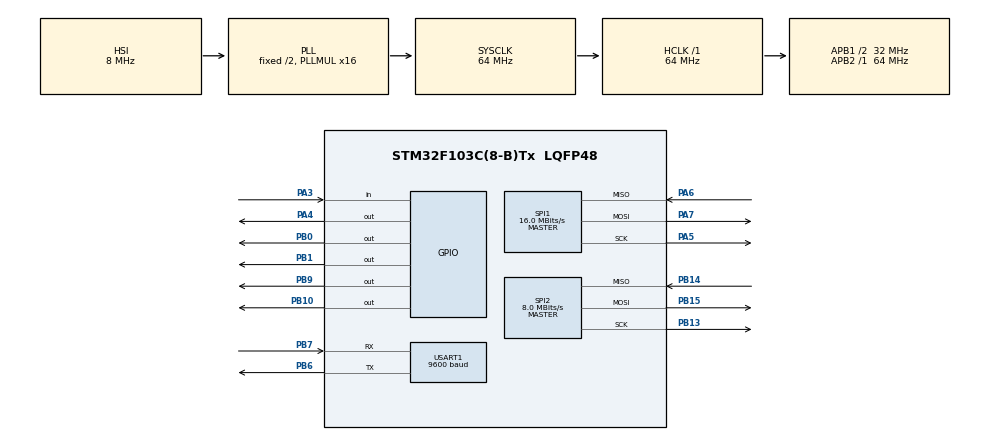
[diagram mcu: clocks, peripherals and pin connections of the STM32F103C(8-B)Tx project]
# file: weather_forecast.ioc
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Dma.Request0=SPI1_TX
Dma.SPI1_TX.0.Direction=DMA_MEMORY_TO_PERIPH
Dma.SPI1_TX.0.Instance=DMA1_Channel3
Dma.SPI1_TX.0.MemDataAlignment=DMA_MDATAALIGN_BYTE
Dma.SPI1_TX.0.MemInc=DMA_MINC_ENABLE
Dma.SPI1_TX.0.Mode=DMA_NORMAL
Dma.SPI1_TX.0.PeriphDataAlignment=DMA_PDATAALIGN_BYTE
Dma.SPI1_TX.0.PeriphInc=DMA_PINC_DISABLE
Dma.SPI1_TX.0.Priority=DMA_PRIORITY_VERY_HIGH
Mcu.Family=STM32F1
Mcu.Name=STM32F103C(8-B)Tx
Mcu.Package=LQFP48
NVIC.DMA1_Channel3_IRQn=true\:0\:0\:false\:false\:true\:false\:true\:true
NVIC.PriorityGroup=NVIC_PRIORITYGROUP_4
NVIC.USART1_IRQn=true\:0\:0\:false\:false\:true\:true\:true\:true
PA13.Mode=Serial_Wire
PA13.Signal=SYS_JTMS-SWDIO
PA14.Mode=Serial_Wire
PA14.Signal=SYS_JTCK-SWCLK
PA3.Signal=GPIO_Input
PA4.PinState=GPIO_PIN_SET
PA4.Signal=GPIO_Output
PA5.Mode=Full_Duplex_Master
PA5.Signal=SPI1_SCK
PA6.Mode=Full_Duplex_Master
PA6.Signal=SPI1_MISO
PA7.Mode=Full_Duplex_Master
PA7.Signal=SPI1_MOSI
PB0.Signal=GPIO_Output
PB1.Signal=GPIO_Output
PB10.Signal=GPIO_Output
PB13.Mode=Full_Duplex_Master
PB13.Signal=SPI2_SCK
PB14.Mode=Full_Duplex_Master
PB14.Signal=SPI2_MISO
PB15.Mode=Full_Duplex_Master
PB15.Signal=SPI2_MOSI
PB6.Mode=Asynchronous
PB6.Signal=USART1_TX
PB7.Mode=Asynchronous
PB7.Signal=USART1_RX
PB9.Signal=GPIO_Output
PD0-OSC_IN.Mode=HSE-External-Oscillator
PD0-OSC_IN.Signal=RCC_OSC_IN
PD1-OSC_OUT.Mode=HSE-External-Oscillator
PD1-OSC_OUT.Signal=RCC_OSC_OUT
ProjectManager.HeapSize=0x200
ProjectManager.StackSize=0x400
ProjectManager.TargetToolchain=STM32CubeIDE
RCC.AHBFreq_Value=64000000
RCC.APB1CLKDivider=RCC_HCLK_DIV2
RCC.APB1Freq_Value=32000000
RCC.APB1TimFreq_Value=64000000
RCC.APB2Freq_Value=64000000
RCC.APB2TimFreq_Value=64000000
RCC.HCLKFreq_Value=64000000
RCC.PLLMUL=RCC_PLL_MUL16
RCC.SYSCLKFreq_VALUE=64000000
RCC.SYSCLKSource=RCC_SYSCLKSOURCE_PLLCLK
RCC.USBFreq_Value=64000000
RTC.Date=18
RTC.Format=RTC_FORMAT_BIN
RTC.Hours=15
RTC.Minutes=28
RTC.Month=RTC_MONTH_NOVEMBER
RTC.Year=24
SPI1.BaudRatePrescaler=SPI_BAUDRATEPRESCALER_4
SPI1.CalculateBaudRate=16.0 MBits/s
SPI1.Direction=SPI_DIRECTION_2LINES
SPI1.Mode=SPI_MODE_MASTER
SPI1.VirtualType=VM_MASTER
SPI2.BaudRatePrescaler=SPI_BAUDRATEPRESCALER_4
SPI2.CalculateBaudRate=8.0 MBits/s
SPI2.Direction=SPI_DIRECTION_2LINES
SPI2.Mode=SPI_MODE_MASTER
SPI2.VirtualType=VM_MASTER
TIM1.Prescaler=71
USART1.BaudRate=9600
USART1.VirtualMode=VM_ASYNC
VP_RTC_No_RTC_Output.Mode=RTC_OUT_NO
VP_RTC_VS_RTC_Activate.Mode=RTC_Enabled
VP_RTC_VS_RTC_Calendar.Mode=RTC_Calendar
VP_TIM1_VS_ClockSourceINT.Mode=Internal
board=custom

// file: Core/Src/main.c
/* USER CODE BEGIN Header */
/**
  ******************************************************************************
  * @file           : main.c
  * @brief          : Main program body
  ******************************************************************************
  * @attention
  *
  * Copyright (c) 2024 STMicroelectronics.
  * All rights reserved.
  *
  * This software is licensed under terms that can be found in the LICENSE file
  * in the root directory of this software component.
  * If no LICENSE file comes with this software, it is provided AS-IS.
  *
  ******************************************************************************
  */
/* USER CODE END Header */
#include "main.h"

/* USER CODE BEGIN Includes */
#include "stdio.h"
#include "ILI9341_STM32_Driver.h"
#include "fonts.h"
#include "Image_Lib.h"
#include "touch.h"
#include <string.h>
#include <time.h>
#include <stdlib.h>
#include <limits.h>
//#include "W25Qxx.h"
//#include <calibrate.h>

/* USER CODE END Includes */

/* USER CODE BEGIN PTD */
#define DHT11_PORT GPIOB
#define DHT11_PIN GPIO_PIN_9

#define MAX_LEN 6
#define MAX_TOKENS 1024

/* USER CODE END PTD */

/* USER CODE BEGIN PD */
struct DataSend{
	float lat;
	float lon;
	int nameProvince;
	int flagSend;
};

struct DataReceive{
	int tempCurrent[7][24];
	int numberDay[7];
	int tempMax[7];
	int tempMin[7];
	int humidi[7][24];
	double Rain[7][24];
	int gioHT;
	int receiveNumber;
	int flagReceive;
};
struct DataReceive data_receive;

struct DataSend HoChiMinh = {10.8231,106.6297,1};
struct DataSend Hue = {16.4637,107.5909,2};
struct DataSend HaNoi = {21.0278,105.8342,3};

/* USER CODE END PD */

RTC_HandleTypeDef hrtc;

SPI_HandleTypeDef hspi1;
SPI_HandleTypeDef hspi2;
DMA_HandleTypeDef hdma_spi1_tx;

TIM_HandleTypeDef htim1;

UART_HandleTypeDef huart1;

void SystemClock_Config(void);
static void MX_GPIO_Init(void);
static void MX_DMA_Init(void);
static void MX_SPI1_Init(void);
static void MX_TIM1_Init(void);
static void MX_USART1_UART_Init(void);
static void MX_SPI2_Init(void);
static void MX_RTC_Init(void);
/* USER CODE BEGIN PFP */
RTC_DateTypeDef date_of_week;
//uint8_t current_day;
char *day_char[] = {"Sun", "Mon", "Tue", "Wed", "Thur", "Fri", "Sat"};

/* USER CODE END PFP */

/* USER CODE BEGIN 0 */
uint8_t RHI, RHD, TCI, TCD, sum;// 8 bit high humidity, low humidity, high temperature, low temprature, checksum(parity)
uint32_t pMilis, cMillis;
float fCelsius = 0;
float fFahrenheit = 0;
float RH = 0;
uint8_t TFI = 0;
uint8_t TFD = 0;
char strCopy[30];
uint8_t rx_data;
char rx_buffer[1024];
char rx_letter[1024];
char rx_Day[1024];
char rx_buff[1024];
int i = 0;
float temperatures[8];     // Lưu nhiệt độ 8 ngày
int valuesIndex = 0;
uint8_t values[MAX_TOKENS];        // Mảng lưu giá trị float từ các token
int state = 0; // 0: màn hình chính, 1: Hue, 2: Ho Chi Minh, 3: Nhiet do va do am
int isTitleDisplayed = 0; // Cờ để kiểm tra nếu Title đã hiển thị
int canReceive = 0;

void microDelay(uint16_t t)
{
	__HAL_TIM_SET_COUNTER(&htim1, 0);
	while(__HAL_TIM_GET_COUNTER(&htim1) < t);
}

uint8_t DHT11_Start()
{
	uint8_t Response = 0;
	GPIO_InitTypeDef GPIO_InitStructPrivate = {0};
	GPIO_InitStructPrivate.Pin = DHT11_PIN;
	GPIO_InitStructPrivate.Mode = GPIO_MODE_OUTPUT_PP;
	GPIO_InitStructPrivate.Speed = GPIO_SPEED_FREQ_LOW;
	GPIO_InitStructPrivate.Pull = GPIO_NOPULL;
	HAL_GPIO_Init(DHT11_PORT, &GPIO_InitStructPrivate);
	HAL_GPIO_WritePin(DHT11_PORT, DHT11_PIN, 0); // yeu cau data tu sensor
	HAL_Delay(20);// cho 20ms
	HAL_GPIO_WritePin(DHT11_PORT, DHT11_PIN, 1); // micro gui tin hieu yeu cau
	microDelay(30); // delay 30us
	GPIO_InitStructPrivate.Mode = GPIO_MODE_INPUT;
	GPIO_InitStructPrivate.Pull = GPIO_PULLUP;
	HAL_GPIO_Init(DHT11_PORT, &GPIO_InitStructPrivate); // set the pin as input
	microDelay(40);
	if(!(HAL_GPIO_ReadPin(DHT11_PORT, DHT11_PIN)))
	{
		microDelay(80);
		if(HAL_GPIO_ReadPin(DHT11_PORT, DHT11_PIN))
			Response = 1;
	}
	pMilis = HAL_GetTick();
	cMillis = HAL_GetTick();
	while((HAL_GPIO_ReadPin(DHT11_PORT, DHT11_PIN)) && pMilis + 2 > cMillis)
	{
		cMillis = HAL_GetTick();
	}
	return Response;
}

uint8_t DHT11_Read()
{
	uint8_t a, b = 0;
	for(a = 0;a < 8 ;a++)
	{
		pMilis = HAL_GetTick();
		cMillis = HAL_GetTick();
		while(!(HAL_GPIO_ReadPin(DHT11_PORT, DHT11_PIN)) && (pMilis + 2 > cMillis))
		{
			//wait pin high
			cMillis = HAL_GetTick();
		}
		microDelay(40);
		if(!HAL_GPIO_ReadPin(DHT11_PORT, DHT11_PIN))
			b &= ~(1 << (7 - a));
		else
			b |= (1 << (7 - a));
		pMilis = HAL_GetTick();
		cMillis = HAL_GetTick();
		while((HAL_GPIO_ReadPin(DHT11_PORT, DHT11_PIN)) && pMilis + 2 > cMillis)
		{
			//wait pin high
			cMillis = HAL_GetTick();
		}
	}
	return b;
}

void HAL_UART_RxCpltCallback(UART_HandleTypeDef *huart) {
	if(data_receive.flagReceive == 1){
		HAL_UART_Receive_IT(&huart1,(uint8_t *)&data_receive, sizeof(data_receive));
	}
}

void Title(){ // display main screen
	ILI9341_FillRectangle(19, 258, 200, 32, ILI9341_COLOR565(254, 197, 230));
	ILI9341_FillRectangle(19, 203, 200, 32, ILI9341_COLOR565(254, 197, 230));
	ILI9341_FillRectangle(19, 148, 200, 32, ILI9341_COLOR565(254, 197, 230));
	ILI9341_FillRectangle(19, 93, 200, 32, ILI9341_COLOR565(254, 197, 230));
	ILI9341_WriteString(112, 10, "Du bao", Font_11x18, ILI9341_COLOR565(102, 255, 255), ILI9341_COLOR565(255, 204, 0));
	ILI9341_WriteString(48, 38, "thoi tiet", Font_16x26, ILI9341_COLOR565(102, 255, 255), ILI9341_COLOR565(255, 204, 0));
	ILI9341_WriteString(60, 100, "Ho Chi Minh", Font_11x18, ILI9341_COLOR565(58, 12, 163), ILI9341_COLOR565(254, 197, 230));
	ILI9341_WriteString(82, 155, "Ha Noi", Font_11x18, ILI9341_COLOR565(58, 12, 163), ILI9341_COLOR565(254, 197, 230));
	ILI9341_WriteString(96, 210, "Hue", Font_11x18, ILI9341_COLOR565(58, 12, 163), ILI9341_COLOR565(254, 197, 230));
	ILI9341_WriteString(25, 265, "Nhiet do va do am", Font_11x18, ILI9341_COLOR565(58, 12, 163), ILI9341_COLOR565(254, 197, 230));
	isTitleDisplayed = 1;
	//}
}

void DisplayWeather(){
	uint16_t x, y;
	if(ILI9341_TouchGetCoordinates(&x, &y) && state == 0)
	{
		if(x >= 188 && x <= 196 && y >= 9 && y <= 318)
		{
			Hue.flagSend = 1;
			HAL_UART_Transmit(&huart1, (uint8_t *)&Hue, sizeof(Hue),1000);
			Hue.flagSend = 0;
			HAL_UART_Transmit(&huart1, (uint8_t *)&Hue, sizeof(HaNoi),1000);
			while(data_receive.receiveNumber != 2 || data_receive.receiveNumber == 1 || data_receive.receiveNumber == 3){
				Hue.flagSend = 1;
				HAL_UART_Transmit(&huart1, (uint8_t *)&Hue, sizeof(Hue),1000);
				Hue.flagSend = 0;
				HAL_UART_Transmit(&huart1, (uint8_t *)&Hue, sizeof(HaNoi),1000);
				ILI9341_FillScreen(ILI9341_COLOR565(0, 204, 204));
				ILI9341_WriteString(40, 147, "Loading...", Font_16x26, ILI9341_COLOR565(102, 51, 255),ILI9341_COLOR565(0, 204, 204));
			}
			ILI9341_FillScreen(BLACK);
			ILI9341_WriteString(103, 1, "Hue", Font_11x18, ILI9341_COLOR565(255, 51, 0), BLACK);
			ILI9341_DrawImage(206, 1, 24, 24, button_back_Image);

			ILI9341_FillRectangle(38, 80, 22, 22, ILI9341_COLOR565(64, 160, 240));
			sprintf(rx_letter, "%s","<");
			ILI9341_WriteString(43, 82, rx_letter, Font_11x18, WHITE, ILI9341_COLOR565(64, 160, 240));
			ILI9341_FillRectangle(187, 80, 22, 22, ILI9341_COLOR565(64, 160, 240));
			sprintf(rx_letter, "%s",">");
			ILI9341_WriteString(194, 82, rx_letter, Font_11x18, WHITE, ILI9341_COLOR565(64, 160, 240));

			int count = data_receive.gioHT + 1;

			int n = data_receive.gioHT;
			int timeCurrent;

			while(state != 1){
				Hue.flagSend = 1;
				HAL_UART_Transmit(&huart1, (uint8_t *)&Hue, sizeof(Hue),1000);
				Hue.flagSend = 0;
				HAL_UART_Transmit(&huart1, (uint8_t *)&Hue, sizeof(HaNoi),1000);
				for(int t = 0;t < 7;t++){
					int currentDay = (data_receive.numberDay[t] + i) % 7;
						if(t == 0){
							sprintf(rx_Day, "%s",day_char[currentDay]);
							ILI9341_WriteString(5, 30, rx_Day, Font_11x18, WHITE, BLACK);

							sprintf(rx_buffer, "%d",data_receive.tempCurrent[t][n]);
							ILI9341_WriteString(60, 30, rx_buffer, Font_11x18, WHITE, BLACK);
							sprintf(rx_letter, "%s","o");
							ILI9341_WriteString(83, 30, rx_letter, Font_7x10, WHITE, BLACK);

							sprintf(rx_buffer, "%d%%",data_receive.humidi[t][n]);
							ILI9341_WriteString(60, 55, rx_buffer, Font_11x18, WHITE, BLACK);
							if(data_receive.Rain[t][n] == 0){
								ILI9341_DrawImage(134, 30, 32, 32, Image_Sun);
							}
							else{
								ILI9341_DrawImage(134, 30, 32, 32, Image_Rain);
							}

							// next current hour
							if(count > 12)
							{
								ILI9341_FillRectangle(80, 82, 44, 18,BLACK);
								timeCurrent = count - 12;
								sprintf(rx_buffer, "%dPM", timeCurrent);
								ILI9341_WriteString(80, 82, rx_buffer, Font_11x18, ILI9341_COLOR565(248, 248, 255), BLACK);
							}
							else{
								sprintf(rx_buffer, "%dAM", count);
								ILI9341_WriteString(80, 82, rx_buffer, Font_11x18, ILI9341_COLOR565(248, 248, 255), BLACK);
							}
							sprintf(rx_buffer, "%d", data_receive.tempCurrent[t][count]);
							ILI9341_WriteString(135, 82, rx_buffer, Font_7x10, WHITE, BLACK);
							sprintf(rx_letter, "%s", "o");
							ILI9341_WriteString(150, 79, rx_letter, Font_7x10, WHITE, BLACK);

							sprintf(rx_buffer, "%d%%", data_receive.humidi[t][count]);
							ILI9341_WriteString(135, 93, rx_buffer, Font_7x10, WHITE, BLACK);
						}
						else{
							sprintf(rx_Day, "%s",day_char[currentDay]);
							ILI9341_WriteString(20,30*t + 97 , rx_Day, Font_7x10, WHITE, BLACK);

							sprintf(rx_buffer, "%d",data_receive.tempMax[t]);
							ILI9341_WriteString(75, 30*t + 97, rx_buffer, Font_7x10, WHITE, BLACK);
							sprintf(rx_letter, "%s","o");
							ILI9341_WriteString(90, 30*t + 93, rx_letter, Font_7x10, WHITE, BLACK);

							sprintf(rx_buffer, "%d",data_receive.tempMin[t]);
							ILI9341_WriteString(105, 30*t + 97, rx_buffer, Font_7x10, WHITE, BLACK);
							sprintf(rx_letter, "%s","o");
							ILI9341_WriteString(120, 30*t + 93, rx_letter, Font_7x10, WHITE, BLACK);

							sprintf(rx_buffer, "%d%%",data_receive.humidi[t][n]);
							ILI9341_WriteString(179, 30*t + 97, rx_buffer, Font_7x10, WHITE, BLACK);
							if(data_receive.Rain[t][n] == 0){
								ILI9341_DrawImage(55, 30*t + 92, 16, 16, Image_Sun_16);
							}
							else{
								ILI9341_DrawImage(55, 30*t + 92, 16, 16, Image_rain_16);
							}
							ILI9341_DrawImage(155, 30*t + 92, 16, 16, Image_humidity_16);
						}
					}
				HAL_Delay(2000);

				if (ILI9341_TouchGetCoordinates(&x, &y)) {
					if(x >= 4 && x <= 20 && y >= 284 && y <= 320){
						state = 1;
						 /*// Đợi cho đến khi UART truyền xong
						while (HAL_UART_GetState(&huart1) != HAL_UART_STATE_READY) {
						     // Chờ UART truyền xong
						__HAL_UART_FLUSH_DRREGISTER(&huart1); // Xóa thanh ghi dữ liệu UART
						Hue.flagSend = 0;
						HAL_UART_Transmit(&huart1, (uint8_t *)&Hue, sizeof(HaNoi),1000);*/
						return;
						}
					//next
					else if (x >= 64 && x <= 83 && y >= 269 && y <= 318) {
						if (count + 1 <= 24) {
							count++;
						}
					}
					// back
					else if (x >= 64 && x <= 80 && y >= 49 && y <= 68) {
						if (count - 1 > n) {
							count--;
						}
					}
				}
			}
		}

		else if((x >= 77 && x <= 99) && (y >= 9 && y <= 318))
		{
			HoChiMinh.flagSend = 1;
			HAL_UART_Transmit(&huart1, (uint8_t *)&HoChiMinh, sizeof(HoChiMinh),1000);
			HoChiMinh.flagSend = 0;
			HAL_UART_Transmit(&huart1, (uint8_t *)&HoChiMinh, sizeof(HoChiMinh),1000);
			while(data_receive.receiveNumber != 1 || data_receive.receiveNumber == 2 || data_receive.receiveNumber == 3){
				HoChiMinh.flagSend = 1;
				HAL_UART_Transmit(&huart1, (uint8_t *)&HoChiMinh, sizeof(HoChiMinh),1000);
				HoChiMinh.flagSend = 0;
				HAL_UART_Transmit(&huart1, (uint8_t *)&HoChiMinh, sizeof(HoChiMinh),1000);
				ILI9341_FillScreen(ILI9341_COLOR565(0, 204, 204));
				ILI9341_WriteString(40, 147, "Loading...", Font_16x26, ILI9341_COLOR565(102, 51, 255),ILI9341_COLOR565(0, 204, 204) );
			}
				ILI9341_FillScreen(BLACK);
				ILI9341_WriteString(50, 1, "Ho Chi Minh", Font_11x18, ILI9341_COLOR565(255, 51, 0), BLACK);
				ILI9341_DrawImage(206, 1, 24, 24, button_back_Image);

				ILI9341_FillRectangle(38, 80, 22, 22, ILI9341_COLOR565(64, 160, 240));
				sprintf(rx_letter, "%s","<");
				ILI9341_WriteString(43, 82, rx_letter, Font_11x18, WHITE, ILI9341_COLOR565(64, 160, 240));
				ILI9341_FillRectangle(187, 80, 22, 22, ILI9341_COLOR565(64, 160, 240));
				sprintf(rx_letter, "%s",">");
				ILI9341_WriteString(194, 82, rx_letter, Font_11x18, WHITE, ILI9341_COLOR565(64, 160, 240));

				int count = data_receive.gioHT + 1;
				int timeCurrent;
				int n = data_receive.gioHT;

			while(state != 2){
				HoChiMinh.flagSend = 1;
				HAL_UART_Transmit(&huart1, (uint8_t *)&HoChiMinh, sizeof(HoChiMinh),1000);
				HoChiMinh.flagSend = 0;
				HAL_UART_Transmit(&huart1, (uint8_t *)&HoChiMinh, sizeof(HoChiMinh),1000);

				for(int t = 0;t < 7;t++){
					int currentDay = (data_receive.numberDay[t] + i) % 7;
					if(t == 0){
						sprintf(rx_Day, "%s",day_char[currentDay]);
						ILI9341_WriteString(5, 30, rx_Day, Font_11x18, WHITE, BLACK);

						sprintf(rx_buffer, "%d",data_receive.tempCurrent[t][n]);
						ILI9341_WriteString(60, 30, rx_buffer, Font_11x18, WHITE, BLACK);
						sprintf(rx_letter, "%s","o");
						ILI9341_WriteString(83, 30, rx_letter, Font_7x10, WHITE, BLACK);

						sprintf(rx_buffer, "%d%%",data_receive.humidi[t][n]);
						ILI9341_WriteString(60, 50, rx_buffer, Font_11x18, WHITE, BLACK);
						if(data_receive.Rain[t][n] == 0){
							ILI9341_DrawImage(134, 30, 32, 32, Image_Sun);
						}
						else{
							ILI9341_DrawImage(134, 30, 32, 32, Image_Rain);
						}

						// next current hour
						if(count > 12)
						{
							ILI9341_FillRectangle(80, 82, 44, 18,BLACK);
							timeCurrent = count - 12;
							sprintf(rx_buffer, "%dPM", timeCurrent);
							ILI9341_WriteString(80, 82, rx_buffer, Font_11x18, ILI9341_COLOR565(248, 248, 255), BLACK);
						}
						else{
							sprintf(rx_buffer, "%dAM", count);
							ILI9341_WriteString(80, 82, rx_buffer, Font_11x18, ILI9341_COLOR565(248, 248, 255), BLACK);
						}
						sprintf(rx_buffer, "%d", data_receive.tempCurrent[t][count]);
						ILI9341_WriteString(135, 82, rx_buffer, Font_7x10, WHITE, BLACK);
						sprintf(rx_letter, "%s", "o");
						ILI9341_WriteString(150, 79, rx_letter, Font_7x10, WHITE, BLACK);

						sprintf(rx_buffer, "%d%%", data_receive.humidi[t][count]);
						ILI9341_WriteString(135, 93, rx_buffer, Font_7x10, WHITE, BLACK);

					}

					else{
						sprintf(rx_Day, "%s",day_char[currentDay]);
						ILI9341_WriteString(20,30*t + 97 , rx_Day, Font_7x10, WHITE, BLACK);

						sprintf(rx_buffer, "%d",data_receive.tempMax[t]);
						ILI9341_WriteString(75, 30*t + 97, rx_buffer, Font_7x10, WHITE, BLACK);
						sprintf(rx_letter, "%s","o");
						ILI9341_WriteString(90, 30*t + 93, rx_letter, Font_7x10, WHITE, BLACK);

						sprintf(rx_buffer, "%d",data_receive.tempMin[t]);
						ILI9341_WriteString(105, 30*t + 97, rx_buffer, Font_7x10, WHITE, BLACK);
						sprintf(rx_letter, "%s","o");
						ILI9341_WriteString(120, 30*t + 93, rx_letter, Font_7x10, WHITE, BLACK);

						sprintf(rx_buffer, "%d%%",data_receive.humidi[t][n]);
						ILI9341_WriteString(179, 30*t + 97, rx_buffer, Font_7x10, WHITE, BLACK);
						if(data_receive.Rain[t][n] == 0){
							ILI9341_DrawImage(55, 30*t + 92, 16, 16, Image_Sun_16);
						}
						else{
							ILI9341_DrawImage(55, 30*t + 92, 16, 16, Image_rain_16);
						}
						ILI9341_DrawImage(155, 30*t + 92, 16, 16, Image_humidity_16);
					}
				}
				HAL_Delay(2000);
				if (ILI9341_TouchGetCoordinates(&x, &y)) {
					if(x >= 4 && x <= 20 && y >= 284 && y <= 320){
						state = 2;
						 /*// Đợi cho đến khi UART truyền xong
						while (HAL_UART_GetState(&huart1) != HAL_UART_STATE_READY) {
							// Chờ UART truyền xong
						__HAL_UART_FLUSH_DRREGISTER(&huart1); // Xóa thanh ghi dữ liệu UART
						HoChiMinh.flagSend = 0;
						HAL_UART_Transmit(&huart1, (uint8_t *)&HoChiMinh, sizeof(HoChiMinh),1000);*/
						return;
						 }
					//next
					else if (x >= 64 && x <= 83 && y >= 269 && y <= 318) {
						if (count + 1 <= 24) {
							count++;
						}
					}
					// back
					else if (x >= 64 && x <= 80 && y >= 49 && y <= 68) {
						if (count - 1 > n) {
							count --;
						}
					}
				}
			}
		}

		else if((x >= 116 && x <= 185) && (y >= 9 && y <= 318))
		{
			HaNoi.flagSend = 1;
			HAL_UART_Transmit(&huart1, (uint8_t *)&HaNoi, sizeof(HaNoi),1000);
			HaNoi.flagSend = 0;
			HAL_UART_Transmit(&huart1, (uint8_t *)&HaNoi, sizeof(HaNoi),1000);
			while(data_receive.receiveNumber != 3 || data_receive.receiveNumber == 2 || data_receive.receiveNumber == 1){
				HaNoi.flagSend = 1;
				HAL_UART_Transmit(&huart1, (uint8_t *)&HaNoi, sizeof(HaNoi),1000);
				HaNoi.flagSend = 0;
				HAL_UART_Transmit(&huart1, (uint8_t *)&HaNoi, sizeof(HaNoi),1000);
				ILI9341_FillScreen(ILI9341_COLOR565(0, 204, 204));
				ILI9341_WriteString(40, 147, "Loading...", Font_16x26, ILI9341_COLOR565(102, 51, 255),ILI9341_COLOR565(0, 204, 204) );
			}
			ILI9341_FillScreen(BLACK);
			ILI9341_WriteString(87, 1, "Ha Noi", Font_11x18, ILI9341_COLOR565(255, 51, 0), BLACK);
			ILI9341_DrawImage(206, 1, 24, 24, button_back_Image);

			ILI9341_FillRectangle(38, 80, 22, 22, ILI9341_COLOR565(64, 160, 240));
			sprintf(rx_letter, "%s","<");
			ILI9341_WriteString(43, 82, rx_letter, Font_11x18, WHITE, ILI9341_COLOR565(64, 160, 240));
			ILI9341_FillRectangle(187, 80, 22, 22, ILI9341_COLOR565(64, 160, 240));
			sprintf(rx_letter, "%s",">");
			ILI9341_WriteString(194, 82, rx_letter, Font_11x18, WHITE, ILI9341_COLOR565(64, 160, 240));

			int count = data_receive.gioHT + 1;
			int timeCurrent;
			int n = data_receive.gioHT;

			while(state != 3){
				HaNoi.flagSend = 1;
				HAL_UART_Transmit(&huart1, (uint8_t *)&HaNoi, sizeof(HaNoi),1000);
				HaNoi.flagSend = 0;
				HAL_UART_Transmit(&huart1, (uint8_t *)&HaNoi, sizeof(HaNoi),1000);
				for(int t = 0;t < 7;t++){
					int currentDay = (data_receive.numberDay[t] + i) % 7;
					int n = data_receive.gioHT;
					if(t == 0){
						sprintf(rx_Day, "%s",day_char[currentDay]);
						ILI9341_WriteString(5, 30, rx_Day, Font_11x18, WHITE, BLACK);
						sprintf(rx_buffer, "%d",data_receive.tempCurrent[t][n]);
						ILI9341_WriteString(60, 30, rx_buffer, Font_11x18, WHITE, BLACK);
						sprintf(rx_letter, "%s","o");
						ILI9341_WriteString(83, 30, rx_letter, Font_7x10, WHITE, BLACK);

						sprintf(rx_buffer, "%d%%",data_receive.humidi[t][n]);
						ILI9341_WriteString(60, 50, rx_buffer, Font_11x18, WHITE, BLACK);
						if(data_receive.Rain[t][n] == 0){
							ILI9341_DrawImage(134, 30, 32, 32, Image_Sun);
							}
						else{
							ILI9341_DrawImage(134, 30, 32, 32, Image_Rain);
						}

						// next current hour
						if(count > 12)
						{
							ILI9341_FillRectangle(80, 82, 44, 18,BLACK);
							timeCurrent = count - 12;
							sprintf(rx_buffer, "%dPM", timeCurrent);
							ILI9341_WriteString(80, 82, rx_buffer, Font_11x18, ILI9341_COLOR565(248, 248, 255), BLACK);
						}
						else{
							sprintf(rx_buffer, "%dAM", count);
							ILI9341_WriteString(80, 82, rx_buffer, Font_11x18, ILI9341_COLOR565(248, 248, 255), BLACK);
						}
						sprintf(rx_buffer, "%d", data_receive.tempCurrent[t][count]);
						ILI9341_WriteString(135, 82, rx_buffer, Font_7x10, WHITE, BLACK);
						sprintf(rx_letter, "%s", "o");
						ILI9341_WriteString(150, 79, rx_letter, Font_7x10, WHITE, BLACK);

						sprintf(rx_buffer, "%d%%", data_receive.humidi[t][count]);
						ILI9341_WriteString(135, 93, rx_buffer, Font_7x10, WHITE, BLACK);

					}
					else{
						sprintf(rx_Day, "%s",day_char[currentDay]);
						ILI9341_WriteString(20,30*t + 97 , rx_Day, Font_7x10, WHITE, BLACK);
						sprintf(rx_buffer, "%d",data_receive.tempMax[t]);
						ILI9341_WriteString(75, 30*t + 97, rx_buffer, Font_7x10, WHITE, BLACK);
						sprintf(rx_letter, "%s","o");
						ILI9341_WriteString(90, 30*t + 93, rx_letter, Font_7x10, WHITE, BLACK);

						sprintf(rx_buffer, "%d",data_receive.tempMin[t]);
						ILI9341_WriteString(105, 30*t + 97, rx_buffer, Font_7x10, WHITE, BLACK);
						sprintf(rx_letter, "%s","o");
						ILI9341_WriteString(120, 30*t + 93, rx_letter, Font_7x10, WHITE, BLACK);

						sprintf(rx_buffer, "%d%%",data_receive.humidi[t][n]);
						ILI9341_WriteString(179, 30*t + 97, rx_buffer, Font_7x10, WHITE, BLACK);
						if(data_receive.Rain[t][n] == 0){
							ILI9341_DrawImage(55, 30*t + 92, 16, 16, Image_Sun_16);
						}
						else{
							ILI9341_DrawImage(55, 30*t + 92, 16, 16, Image_rain_16);
						}
						ILI9341_DrawImage(155, 30*t + 92, 16, 16, Image_humidity_16);
						}
					}
					HAL_Delay(2000);
					if (ILI9341_TouchGetCoordinates(&x, &y)) {
						if(x >= 4 && x <= 20 && y >= 284 && y <= 320){
							state = 3;
							 // Đợi cho đến khi UART truyền xong
							/*while (HAL_UART_GetState(&huart1) != HAL_UART_STATE_READY) {
							    // Chờ UART truyền xong

							//HAL_UART_Abort(&huart1);
							__HAL_UART_FLUSH_DRREGISTER(&huart1); // Xóa thanh ghi dữ liệu UART
							HaNoi.flagSend = 0;
							//RCC->APB2RSTR |= RCC_APB2RSTR_USART1RST; // Reset UART
							//MX_USART1_UART_Init();
							//RCC->APB2RSTR &= ~RCC_APB2RSTR_USART1RST;
							HAL_UART_Transmit(&huart1, (uint8_t *)&HaNoi, sizeof(HaNoi),1000);
							*/
							return;
						}
						//next
						else if (x >= 64 && x <= 83 && y >= 269 && y <= 318) {
							if (count + 1 <= 24) {
								count++;
							}
						}
						// back
						else if (x >= 64 && x <= 80 && y >= 49 && y <= 68) {
							if (count - 1 > n) {
								count --;
							}
						}
					}
				}
			}

		else if(x >= 202 && x <= 231 && y >= 9 && y <= 318){
			ILI9341_FillScreen(BLACK);
			ILI9341_DrawImage(206, 1, 24, 24, button_back_Image);
			ILI9341_WriteString(32, 93, "Temperature", Font_16x26, WHITE, BLACK);
			ILI9341_DrawImage(46, 129, 32, 32, Image_Temp);
			ILI9341_WriteString(56, 175, "Humidity", Font_16x26, WHITE, BLACK);
			ILI9341_DrawImage(46, 211, 32, 32, Image_Humidity);
			while(state != 4){
				if(DHT11_Start()){
					RHI = DHT11_Read();
					RHD = DHT11_Read();
					TCI = DHT11_Read();
					TCD = DHT11_Read();
					sum = DHT11_Read();
					// Kiểm tra tổng(checksum)
					if( RHI + RHD + TCI + TCD == sum)
					{
						// Tính toán nhiệt độ và độ ẩm
						fCelsius = (float)TCI + (float)(TCD/10.0);
						fFahrenheit = fCelsius * 9/5 + 32;
						RH = (float)RHI + (float)(RHD/10.0);
						// Can use tCelsius, tFahrenheit and RH for any purposes
						TFI = fFahrenheit;  // Fahrenheit integral
						TFD = fFahrenheit * 10 - TFI * 10; // Fahrenheit decimal
						// hiển thị nhiệt độ
						sprintf(strCopy, "%d.%d", TCI, TCD);
						ILI9341_WriteString(88, 131, strCopy, Font_16x26, WHITE, BLACK);
						sprintf(rx_letter, "%s","o");
						ILI9341_WriteString(169, 128, rx_letter, Font_11x18, WHITE, BLACK);
						// hiển thị độ ẩm
						sprintf(strCopy, "%d.%d %%", RHI, RHD);
						ILI9341_WriteString(88, 220, strCopy, Font_16x26, WHITE, BLACK);
					}
				}
				if (ILI9341_TouchGetCoordinates(&x, &y)) {
					if(x >= 4 && x <= 20 && y >= 284 && y <= 320){
						state = 4;
						return;
					}
				}
			}
		}
	}
}

void ReturnBack(){
	uint16_t x, y;
	if(ILI9341_TouchGetCoordinates(&x, &y)){
		if((x >= 4 && x <= 20 && y >= 284 && y <= 320) && (state == 1 || state == 2 || state == 3 || state == 4)){
			ILI9341_FillScreen(ILI9341_COLOR565(255, 204, 0));
			state = 0;
			isTitleDisplayed = 0;

		}
	}
}

/* USER CODE END 0 */

int main(void)
{

  /* USER CODE BEGIN 1 */
	//uint8_t index;
  /* USER CODE END 1 */

  /* MCU Configuration--------------------------------------------------------*/

  /* Reset of all peripherals, Initializes the Flash interface and the Systick. */
	HAL_Init();

  /* Configure the system clock */
  SystemClock_Config();

  /* Initialize all configured peripherals */
  MX_GPIO_Init();
  MX_DMA_Init();
  MX_SPI1_Init();
  MX_TIM1_Init();
  MX_USART1_UART_Init();
  MX_SPI2_Init();
  MX_RTC_Init();
  /* USER CODE BEGIN 2 */
  HAL_TIM_Base_Start(&htim1);
  ILI9341_Init();
  ILI9341_FillScreen(ILI9341_COLOR565(255, 204, 0));
  HAL_UART_Receive_IT(&huart1,(uint8_t *)&data_receive, sizeof(data_receive));

  /* USER CODE END 2 */

  /* Infinite loop */
  /* USER CODE BEGIN WHILE */
  while (1)
  {
	  if(state == 0 && isTitleDisplayed == 0){
	  Title();
	  }
	  DisplayWeather();
	  ReturnBack();
	  HAL_Delay(500);
    /* USER CODE END WHILE */

  }
}

void SystemClock_Config(void)
{
  RCC_OscInitTypeDef RCC_OscInitStruct = {0};
  RCC_ClkInitTypeDef RCC_ClkInitStruct = {0};
  RCC_PeriphCLKInitTypeDef PeriphClkInit = {0};

  /** Initializes the RCC Oscillators according to the specified parameters
  * in the RCC_OscInitTypeDef structure.
  */
  RCC_OscInitStruct.OscillatorType = RCC_OSCILLATORTYPE_HSI|RCC_OSCILLATORTYPE_LSI;
  RCC_OscInitStruct.HSIState = RCC_HSI_ON;
  RCC_OscInitStruct.HSICalibrationValue = RCC_HSICALIBRATION_DEFAULT;
  RCC_OscInitStruct.LSIState = RCC_LSI_ON;
  RCC_OscInitStruct.PLL.PLLState = RCC_PLL_ON;
  RCC_OscInitStruct.PLL.PLLSource = RCC_PLLSOURCE_HSI_DIV2;
  RCC_OscInitStruct.PLL.PLLMUL = RCC_PLL_MUL16;
  if (HAL_RCC_OscConfig(&RCC_OscInitStruct) != HAL_OK)
  {
    Error_Handler();
  }

  /** Initializes the CPU, AHB and APB buses clocks
  */
  RCC_ClkInitStruct.ClockType = RCC_CLOCKTYPE_HCLK|RCC_CLOCKTYPE_SYSCLK
                              |RCC_CLOCKTYPE_PCLK1|RCC_CLOCKTYPE_PCLK2;
  RCC_ClkInitStruct.SYSCLKSource = RCC_SYSCLKSOURCE_PLLCLK;
  RCC_ClkInitStruct.AHBCLKDivider = RCC_SYSCLK_DIV1;
  RCC_ClkInitStruct.APB1CLKDivider = RCC_HCLK_DIV2;
  RCC_ClkInitStruct.APB2CLKDivider = RCC_HCLK_DIV1;

  if (HAL_RCC_ClockConfig(&RCC_ClkInitStruct, FLASH_LATENCY_2) != HAL_OK)
  {
    Error_Handler();
  }
  PeriphClkInit.PeriphClockSelection = RCC_PERIPHCLK_RTC;
  PeriphClkInit.RTCClockSelection = RCC_RTCCLKSOURCE_LSI;
  if (HAL_RCCEx_PeriphCLKConfig(&PeriphClkInit) != HAL_OK)
  {
    Error_Handler();
  }
}

static void MX_RTC_Init(void)
{

  RTC_TimeTypeDef sTime = {0};
  RTC_DateTypeDef DateToUpdate = {0};

  /** Initialize RTC Only
  */
  hrtc.Instance = RTC;
  hrtc.Init.AsynchPrediv = RTC_AUTO_1_SECOND;
  hrtc.Init.OutPut = RTC_OUTPUTSOURCE_NONE;
  if (HAL_RTC_Init(&hrtc) != HAL_OK)
  {
    Error_Handler();
  }

  /** Initialize RTC and set the Time and Date
  */
  sTime.Hours = 15;
  sTime.Minutes = 28;
  sTime.Seconds = 0;

  if (HAL_RTC_SetTime(&hrtc, &sTime, RTC_FORMAT_BIN) != HAL_OK)
  {
    Error_Handler();
  }
  DateToUpdate.WeekDay = RTC_WEEKDAY_MONDAY;
  DateToUpdate.Month = RTC_MONTH_NOVEMBER;
  DateToUpdate.Date = 18;
  DateToUpdate.Year = 24;

  if (HAL_RTC_SetDate(&hrtc, &DateToUpdate, RTC_FORMAT_BIN) != HAL_OK)
  {
    Error_Handler();
  }

}

static void MX_SPI1_Init(void)
{

  /* SPI1 parameter configuration*/
  hspi1.Instance = SPI1;
  hspi1.Init.Mode = SPI_MODE_MASTER;
  hspi1.Init.Direction = SPI_DIRECTION_2LINES;
  hspi1.Init.DataSize = SPI_DATASIZE_8BIT;
  hspi1.Init.CLKPolarity = SPI_POLARITY_LOW;
  hspi1.Init.CLKPhase = SPI_PHASE_1EDGE;
  hspi1.Init.NSS = SPI_NSS_SOFT;
  hspi1.Init.BaudRatePrescaler = SPI_BAUDRATEPRESCALER_4;
  hspi1.Init.FirstBit = SPI_FIRSTBIT_MSB;
  hspi1.Init.TIMode = SPI_TIMODE_DISABLE;
  hspi1.Init.CRCCalculation = SPI_CRCCALCULATION_DISABLE;
  hspi1.Init.CRCPolynomial = 10;
  if (HAL_SPI_Init(&hspi1) != HAL_OK)
  {
    Error_Handler();
  }

}

static void MX_SPI2_Init(void)
{

  /* SPI2 parameter configuration*/
  hspi2.Instance = SPI2;
  hspi2.Init.Mode = SPI_MODE_MASTER;
  hspi2.Init.Direction = SPI_DIRECTION_2LINES;
  hspi2.Init.DataSize = SPI_DATASIZE_8BIT;
  hspi2.Init.CLKPolarity = SPI_POLARITY_LOW;
  hspi2.Init.CLKPhase = SPI_PHASE_1EDGE;
  hspi2.Init.NSS = SPI_NSS_SOFT;
  hspi2.Init.BaudRatePrescaler = SPI_BAUDRATEPRESCALER_4;
  hspi2.Init.FirstBit = SPI_FIRSTBIT_MSB;
  hspi2.Init.TIMode = SPI_TIMODE_DISABLE;
  hspi2.Init.CRCCalculation = SPI_CRCCALCULATION_DISABLE;
  hspi2.Init.CRCPolynomial = 10;
  if (HAL_SPI_Init(&hspi2) != HAL_OK)
  {
    Error_Handler();
  }

}

static void MX_TIM1_Init(void)
{

  TIM_ClockConfigTypeDef sClockSourceConfig = {0};
  TIM_MasterConfigTypeDef sMasterConfig = {0};

  htim1.Instance = TIM1;
  htim1.Init.Prescaler = 71;
  htim1.Init.CounterMode = TIM_COUNTERMODE_UP;
  htim1.Init.Period = 65535;
  htim1.Init.ClockDivision = TIM_CLOCKDIVISION_DIV1;
  htim1.Init.RepetitionCounter = 0;
  htim1.Init.AutoReloadPreload = TIM_AUTORELOAD_PRELOAD_DISABLE;
  if (HAL_TIM_Base_Init(&htim1) != HAL_OK)
  {
    Error_Handler();
  }
  sClockSourceConfig.ClockSource = TIM_CLOCKSOURCE_INTERNAL;
  if (HAL_TIM_ConfigClockSource(&htim1, &sClockSourceConfig) != HAL_OK)
  {
    Error_Handler();
  }
  sMasterConfig.MasterOutputTrigger = TIM_TRGO_RESET;
  sMasterConfig.MasterSlaveMode = TIM_MASTERSLAVEMODE_DISABLE;
  if (HAL_TIMEx_MasterConfigSynchronization(&htim1, &sMasterConfig) != HAL_OK)
  {
    Error_Handler();
  }

}

static void MX_USART1_UART_Init(void)
{

  huart1.Instance = USART1;
  huart1.Init.BaudRate = 9600;
  huart1.Init.WordLength = UART_WORDLENGTH_8B;
  huart1.Init.StopBits = UART_STOPBITS_1;
  huart1.Init.Parity = UART_PARITY_NONE;
  huart1.Init.Mode = UART_MODE_TX_RX;
  huart1.Init.HwFlowCtl = UART_HWCONTROL_NONE;
  huart1.Init.OverSampling = UART_OVERSAMPLING_16;
  if (HAL_UART_Init(&huart1) != HAL_OK)
  {
    Error_Handler();
  }

}

static void MX_DMA_Init(void)
{

  /* DMA controller clock enable */
  __HAL_RCC_DMA1_CLK_ENABLE();

  /* DMA interrupt init */
  /* DMA1_Channel3_IRQn interrupt configuration */
  HAL_NVIC_SetPriority(DMA1_Channel3_IRQn, 0, 0);
  HAL_NVIC_EnableIRQ(DMA1_Channel3_IRQn);

}

static void MX_GPIO_Init(void)
{
  GPIO_InitTypeDef GPIO_InitStruct = {0};

  /* GPIO Ports Clock Enable */
  __HAL_RCC_GPIOD_CLK_ENABLE();
  __HAL_RCC_GPIOA_CLK_ENABLE();
  __HAL_RCC_GPIOB_CLK_ENABLE();

  /*Configure GPIO pin Output Level */
  HAL_GPIO_WritePin(GPIOA, GPIO_PIN_4, GPIO_PIN_SET);

  /*Configure GPIO pin Output Level */
  HAL_GPIO_WritePin(GPIOB, GPIO_PIN_0|GPIO_PIN_1|GPIO_PIN_10|GPIO_PIN_9, GPIO_PIN_RESET);

  /*Configure GPIO pin : PA3 */
  GPIO_InitStruct.Pin = GPIO_PIN_3;
  GPIO_InitStruct.Mode = GPIO_MODE_INPUT;
  GPIO_InitStruct.Pull = GPIO_NOPULL;
  HAL_GPIO_Init(GPIOA, &GPIO_InitStruct);

  /*Configure GPIO pin : PA4 */
  GPIO_InitStruct.Pin = GPIO_PIN_4;
  GPIO_InitStruct.Mode = GPIO_MODE_OUTPUT_PP;
  GPIO_InitStruct.Pull = GPIO_NOPULL;
  GPIO_InitStruct.Speed = GPIO_SPEED_FREQ_LOW;
  HAL_GPIO_Init(GPIOA, &GPIO_InitStruct);

  /*Configure GPIO pins : PB0 PB1 PB10 PB9 */
  GPIO_InitStruct.Pin = GPIO_PIN_0|GPIO_PIN_1|GPIO_PIN_10|GPIO_PIN_9;
  GPIO_InitStruct.Mode = GPIO_MODE_OUTPUT_PP;
  GPIO_InitStruct.Pull = GPIO_NOPULL;
  GPIO_InitStruct.Speed = GPIO_SPEED_FREQ_LOW;
  HAL_GPIO_Init(GPIOB, &GPIO_InitStruct);

}

void Error_Handler(void)
{
  __disable_irq();
  while (1)
  {
  }
}
